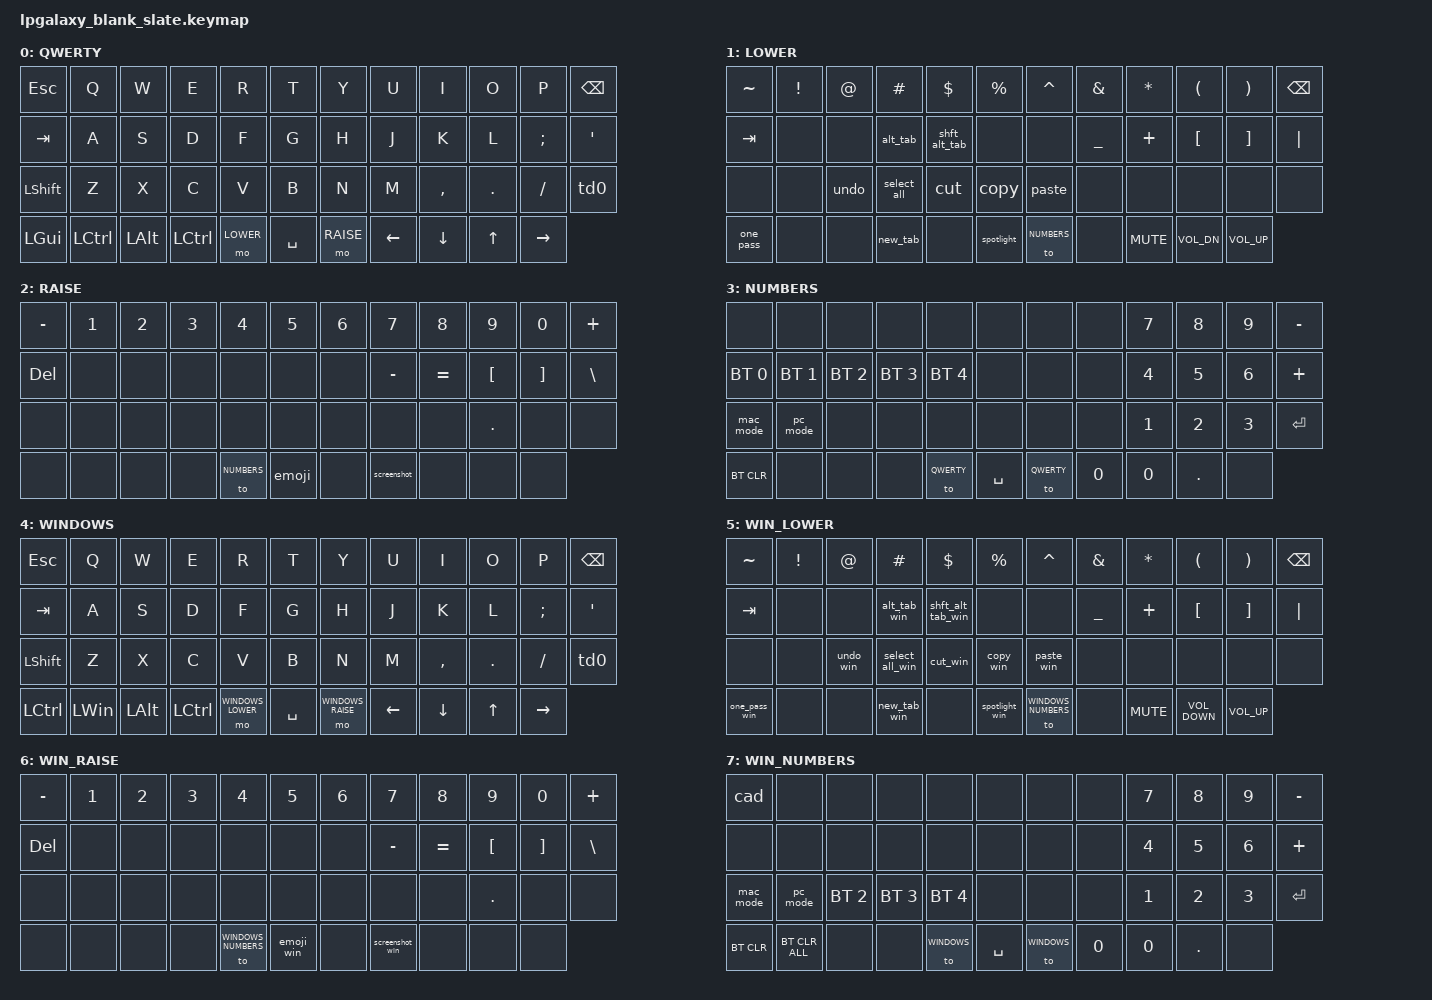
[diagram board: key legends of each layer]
/*
 * Copyright (c) 2022 Pete Johanson
 *
 * SPDX-License-Identifier: MIT
 */

#include <behaviors.dtsi>
#include <dt-bindings/zmk/keys.h>
#include <dt-bindings/zmk/bt.h>
#include <dt-bindings/zmk/outputs.h>

#define QWERTY 0
#define LOWER  1
#define RAISE  2
#define NUMBERS 3

#define WINDOWS 4
#define WINDOWS_LOWER 5
#define WINDOWS_RAISE 6
#define WINDOWS_NUMBERS 7

#define TBLE_MIT 1

&lt { quick_tap_ms = <200>; };

/ {
   chosen {
      zmk,matrix_transform = &mit_transform;
   };

    macros {
       // macOS macros
       mac_mode: mac_mode {
           compatible = "zmk,behavior-macro";
           #binding-cells = <0>;
           bindings
               = <&to QWERTY>
               , <&bt BT_SEL 0>
               ;
       };
       pc_mode: pc_mode {
           compatible = "zmk,behavior-macro";
           #binding-cells = <0>;
           bindings
               = <&to WINDOWS>
               , <&bt BT_SEL 1>
               ;
       };
       new_tab: new_tab {
           compatible = "zmk,behavior-macro";
           #binding-cells = <0>;
           bindings
               = <&macro_press &kp LGUI &kp T>
               , <&macro_release &kp LGUI &kp T>
               ;
       };
        one_pass: one_pass {
           compatible = "zmk,behavior-macro";
           #binding-cells = <0>;
           bindings
               = <&macro_press &kp LGUI &kp BSLH>
               , <&macro_release &kp LGUI &kp BSLH>
               ;
       };
       emoji: emoji {
           compatible = "zmk,behavior-macro";
           #binding-cells = <0>;
           bindings
               = <&macro_press &kp LGUI &kp LCTRL &kp SPC>
               , <&macro_release &kp LGUI &kp LCTRL &kp SPC>
               ;
       };
       copy: copy {
           compatible = "zmk,behavior-macro";
           #binding-cells = <0>;
           bindings
               = <&macro_press &kp LGUI &kp C>
               , <&macro_release &kp LGUI &kp C>
               ;
       };
       paste: paste {
           compatible = "zmk,behavior-macro";
           #binding-cells = <0>;
           bindings
               = <&macro_press &kp LGUI &kp V>
               , <&macro_release &kp LGUI &kp V>
               ;
       };
       select_all: select_all {
           compatible = "zmk,behavior-macro";
           #binding-cells = <0>;
           bindings
               = <&macro_press &kp LGUI &kp A>
               , <&macro_release &kp LGUI &kp A>
               ;
       };
    cut: cut {
           compatible = "zmk,behavior-macro";
           #binding-cells = <0>;
           bindings
               = <&macro_press &kp LGUI &kp X>
               , <&macro_release &kp LGUI &kp X>
               ;
       };
       undo: undo {
           compatible = "zmk,behavior-macro";
           #binding-cells = <0>;
           bindings
               = <&macro_press &kp LGUI &kp Z>
               , <&macro_release &kp LGUI &kp Z>
               ;
       };
       alt_tab: alt_tab {
           compatible = "zmk,behavior-macro";
           #binding-cells = <0>;
           label = "ALT_TAB";
           bindings
               = <&macro_press &kp LGUI &kp TAB>
               , <&macro_tap &kp TAB>
               , <&macro_release &kp LGUI &kp TAB>
               ;
       };
       shft_alt_tab: shft_alt_tab {
           compatible = "zmk,behavior-macro";
           #binding-cells = <0>;
           label = "SHFT_ALT_TAB";
           bindings
               = <&macro_press &kp LGUI &kp LSHFT &kp TAB>
               , <&macro_tap &kp TAB>
               , <&macro_release &kp LGUI &kp LSHFT &kp TAB>
               ;
       };
       screenshot: screenshot {
           compatible = "zmk,behavior-macro";
           #binding-cells = <0>;
           bindings
               = <&macro_press &kp LGUI &kp LSHFT &kp N4>
               , <&macro_release &kp LGUI &kp LSHFT &kp N4>
               ;
       };
        find: find {
           compatible = "zmk,behavior-macro";
           #binding-cells = <0>;
           bindings
               = <&macro_press &kp LGUI &kp F>
               , <&macro_release &kp LGUI &kp F>
               ;
       };
       spotlight: spotlight {
           compatible = "zmk,behavior-macro";
           #binding-cells = <0>;
           bindings
               = <&macro_press &kp LGUI &kp SPC>
               , <&macro_release &kp LGUI &kp SPC>
               ;
       };

       // Windows macros
       cad: cad {
           compatible = "zmk,behavior-macro";
           #binding-cells = <0>;
           bindings
               = <&macro_press &kp LCTRL &kp LALT>
               , <&kp DEL>
               , <&macro_release &kp LCTRL &kp LALT &kp DEL>
               , <&to WINDOWS>
               ;
       };
           new_tab_win: new_tab_win {
           compatible = "zmk,behavior-macro";
           #binding-cells = <0>;
           bindings
               = <&macro_press &kp LCTRL &kp T>
               , <&macro_release &kp LCTRL &kp T>
               ;
       };
       copy_win: copy_win {
           compatible = "zmk,behavior-macro";
           #binding-cells = <0>;
           bindings
               = <&macro_press &kp LCTRL &kp C>
               , <&macro_release &kp LCTRL &kp C>
               ;
       };
       paste_win: paste_win {
           compatible = "zmk,behavior-macro";
           #binding-cells = <0>;
           bindings
               = <&macro_press &kp LCTRL &kp V>
               , <&macro_release &kp LCTRL &kp V>
               ;
       };
       select_all_win: select_all_win {
           compatible = "zmk,behavior-macro";
           #binding-cells = <0>;
           bindings
               = <&macro_press &kp LCTRL &kp A>
               , <&macro_release &kp LCTRL &kp A>
               ;
       };
      cut_win: cut_win {
           compatible = "zmk,behavior-macro";
           #binding-cells = <0>;
           bindings
               = <&macro_press &kp LCTRL &kp X>
               , <&macro_release &kp LCTRL &kp X>
               ;
       };
       undo_win: undo_win {
           compatible = "zmk,behavior-macro";
           #binding-cells = <0>;
           bindings
               = <&macro_press &kp LCTRL &kp Z>
               , <&macro_release &kp LCTRL &kp Z>
               ;
       };
       one_pass_win: one_pass_win {
           compatible = "zmk,behavior-macro";
           #binding-cells = <0>;
           bindings
               = <&macro_press &kp LCTRL &kp BSLH>
               , <&macro_release &kp LCTRL &kp BSLH>
               ;
       };
       emoji_win: emoji_win {
           compatible = "zmk,behavior-macro";
           #binding-cells = <0>;
           bindings
               = <&macro_press &kp LWIN &kp PERIOD>
               , <&macro_release &kp LWIN &kp PERIOD>
               ;
       };
      alt_tab_win: alt_tab_win {
           compatible = "zmk,behavior-macro";
           #binding-cells = <0>;
           label = "ALT_TAB_WIN";
           bindings
               = <&macro_press &kp LALT>
               , <&macro_tap &kp TAB>
               , <&macro_release &kp LCTRL &kp TAB>
               ;
       };
       shft_alt_tab_win: shft_alt_tab_win {
           compatible = "zmk,behavior-macro";
           #binding-cells = <0>;
           label = "SHFT_ALT_TAB_WIN";
           bindings
               = <&macro_press &kp LALT &kp LSHFT>
               , <&macro_tap &kp TAB>
               , <&macro_release &kp LALT &kp LSHFT>
               ;
       };
       screenshot_win: screenshot_win {
           compatible = "zmk,behavior-macro";
           #binding-cells = <0>;
           bindings
               = <&macro_press &kp LGUI &kp LSHFT &kp S>
               , <&macro_release &kp LGUI &kp LSHFT &kp S>
               ;
       };
       find_win: find_win {
           compatible = "zmk,behavior-macro";
           #binding-cells = <0>;
           bindings
               = <&macro_press &kp LCTRL &kp F>
               , <&macro_release &kp LCTRL &kp F>
               ;
       };
       spotlight_win: spotlight_win {
           compatible = "zmk,behavior-macro";
           #binding-cells = <0>;
           bindings
               = <&macro_press &kp LWIN &kp S>
               , <&macro_release &kp LWIN &kp S>
               ;
       };
   };
    keymap {
       compatible = "zmk,keymap";

       QWERTY_layer {
           label = "QWERTY";
           bindings = <
/*
 * ┌───┬───┬───┬───┬───┬───┬───┬───┬───┬───┬───┬───┐
 * │ESC│ Q │ W │ E │ R │ T │ Y │ U │ I │ O │ P │BSP│
 * ├───┼───┼───┼───┼───┼───┼───┼───┼───┼───┼───┼───┤
 * │TAB│ A │ S │ D │ F │ G │ H │ J │ K │ L │ ; │ ' │
 * ├───┼───┼───┼───┼───┼───┼───┼───┼───┼───┼───┼───┤
 * │SFT│ Z │ X │ C │ V │ B │ N │ M │ , │ . │ / │SFT│
 * ├───┼───┼───┼───┼───┼───┼───┼───┼───┼───┼───┼───┤
 * │GUI│CTL|ALT│CTL│LWR│  SPC  │RSE│LFT│DWN│UP │RGT│
 * └───┴───┴───┴───┴───┴───┴───┴───┴───┴───┴───┴───┘
 */
&kp ESC    &kp Q     &kp W     &kp E      &kp R    &kp T      &kp Y    &kp U    &kp I     &kp O    &kp P     &kp BSPC
&kp TAB    &kp A     &kp S     &kp D      &kp F    &kp G      &kp H    &kp J    &kp K     &kp L    &kp SEMI  &kp APOS
&kp LSHFT  &kp Z     &kp X     &kp C      &kp V    &kp B      &kp N    &kp M    &kp COMMA &kp DOT  &kp FSLH  &td0
&kp LGUI  &kp LCTRL  &kp LALT  &kp LCTRL  &mo LOWER &kp SPACE  &mo RAISE &kp LEFT &kp DOWN &kp UP   &kp RIGHT
           >;
       };

       LOWER_layer {
           label = "LOWER";
           bindings = <
/*
 * ┌───┬───┬───┬───┬───┬───┬───┬───┬───┬───┬───┬───┐
 * │ ~ │ ! │ @ │ # │ $ │ % │ ^ │ & │ * │ ( │ ) │BSP│
 * ├───┼───┼───┼───┼───┼───┼───┼───┼───┼───┼───┼───┤
 * │TAB│   │   │A_T│S_T│   │   │ _ │ + │ [ │ ] │ | │
 * ├───┼───┼───┼───┼───┼───┼───┼───┼───┼───┼───┼───┤
 * │   │   │UND│SEL│CUT│CPY│PST│   │   │   │   │   │
 * ├───┼───┼───┼───┼───┼───┼───┼───┼───┼───┼───┼───┤
 * │1PS│   │   │N_T│   │ SPOT  │NUM│   │   │   │   │
 * └───┴───┴───┴───┴───┴───┴───┴───┴───┴───┴───┴───┘
 */
&kp TILDE  &kp EXCL  &kp AT    &kp HASH   &kp DLLR &kp PRCNT &kp CARET &kp AMPS &kp STAR  &kp LPAR &kp RPAR  &kp BSPC
&kp TAB    &none     &none     &alt_tab   &shft_alt_tab &none &none    &kp UNDER &kp PLUS &kp LBKT &kp RBKT  &kp PIPE
&none      &none     &undo     &select_all &cut    &copy    &paste    &none     &none     &none    &none     &none
&one_pass  &none     &none     &new_tab  &none    &spotlight &to NUMBERS &none  &kp C_MUTE    &kp C_VOL_DN    &kp C_VOL_UP
           >;
       };

       RAISE_layer {
           label = "RAISE";
           bindings = <
/*
 * ┌───┬───┬───┬───┬───┬───┬───┬───┬───┬───┬───┬───┐
 * │ - │ 1 │ 2 │ 3 │ 4 │ 5 │ 6 │ 7 │ 8 │ 9 │ 0 │ + │
 * ├───┼───┼───┼───┼───┼───┼───┼───┼───┼───┼───┼───┤
 * │DEL│   │   │   │   │   │   │ - │ = │ [ │ ] │ \ │
 * ├───┼───┼───┼───┼───┼───┼───┼───┼───┼───┼───┼───┤
 * │   │   │   │   │   │   │   │   │   │ . │   │   │
 * ├───┼───┼───┼───┼───┼───┼───┼───┼───┼───┼───┼───┤
 * │   │   │   │NUM│EMJ│  SPC  │   │SCR│   │   │   │
 * └───┴───┴───┴───┴───┴───┴───┴───┴───┴───┴───┴───┘
 */
&kp MINUS  &kp N1    &kp N2    &kp N3     &kp N4   &kp N5    &kp N6   &kp N7    &kp N8    &kp N9   &kp N0    &kp PLUS
&kp DEL    &none     &none     &none      &none    &none     &none    &kp MINUS &kp EQL   &kp LBKT &kp RBKT  &kp BSLH
&none      &none     &none     &none      &none    &none     &none    &none     &none     &kp DOT  &none     &none
&none      &none     &none     &none    &to NUMBERS &emoji  &none    &screenshot &none   &none    &none
           >;
       };

       NUMBERS_layer {
           label = "NUMBERS";
           bindings = <
/*
 * ┌───┬───┬───┬───┬───┬───┬───┬───┬───┬───┬───┬───┐
 * │   │   │   │   │   │   │   │   │ 7 │ 8 │ 9 │ - │
 * ├───┼───┼───┼───┼───┼───┼───┼───┼───┼───┼───┼───┤
 * │BT0│BT1│   │   │   │   │   │   │ 4 │ 5 │ 6 │ + │
 * ├───┼───┼───┼───┼───┼───┼───┼───┼───┼───┼───┼───┤
 * │MAC│PC │BT2│BT3│BT4│   │   │   │ 1 │ 2 │ 3 │ENT│
 * ├───┼───┼───┼───┼───┼───┼───┼───┼───┼───┼───┼───┤
 * │CLR│   │   │   │QWE│  SPC  │QWE│ 0 │ 0 │ . │   │
 * └───┴───┴───┴───┴───┴───┴───┴───┴───┴───┴───┴───┘
 */
&none      &none     &none     &none      &none    &none     &none    &none     &kp N7    &kp N8   &kp N9    &kp MINUS
&bt BT_SEL 0      &bt BT_SEL 1     &bt BT_SEL 2     &bt BT_SEL 3      &bt BT_SEL 4    &none     &none    &none     &kp N4    &kp N5   &kp N6    &kp PLUS
&mac_mode  &pc_mode  &none &none &none &none &none &none   &kp N1    &kp N2   &kp N3    &kp ENTER
&bt BT_CLR &none &none &none &to QWERTY &kp SPACE  &to QWERTY &kp N0   &kp N0   &kp DOT    &none
           >;
       };
   
   WINDOWS_layer {
           label = "WINDOWS";
           bindings = <
/*
 * ┌───┬───┬───┬───┬───┬───┬───┬───┬───┬───┬───┬───┐
 * │ESC│ Q │ W │ E │ R │ T │ Y │ U │ I │ O │ P │BSP│
 * ├───┼───┼───┼───┼───┼───┼───┼───┼───┼───┼───┼───┤
 * │TAB│ A │ S │ D │ F │ G │ H │ J │ K │ L │ ; │ ' │
 * ├───┼───┼───┼───┼───┼───┼───┼───┼───┼───┼───┼───┤
 * │SFT│ Z │ X │ C │ V │ B │ N │ M │ , │ . │ / │SFT│
 * ├───┼───┼───┼───┼───┼───┼───┼───┼───┼───┼───┼───┤
 * │CTL│WIN│ALT│CTL│LWR│  SPC  │RSE│LFT│DWN│UP │RGT│
 * └───┴───┴───┴───┴───┴───┴───┴───┴───┴───┴───┴───┘
 */
&kp ESC    &kp Q     &kp W     &kp E      &kp R    &kp T      &kp Y    &kp U    &kp I     &kp O    &kp P     &kp BSPC
&kp TAB    &kp A     &kp S     &kp D      &kp F    &kp G      &kp H    &kp J    &kp K     &kp L    &kp SEMI  &kp APOS
&kp LSHFT  &kp Z     &kp X     &kp C      &kp V    &kp B      &kp N    &kp M    &kp COMMA &kp DOT  &kp FSLH  &td0
&kp LCTRL  &kp LWIN  &kp LALT  &kp LCTRL  &mo WINDOWS_LOWER &kp SPACE &mo WINDOWS_RAISE &kp LEFT &kp DOWN &kp UP &kp RIGHT
           >;
       };

       WINDOWS_LOWER_layer {
           label = "WIN_LOWER";
           bindings = <
/*
 * ┌───┬───┬───┬───┬───┬───┬───┬───┬───┬───┬───┬───┐
 * │ ~ │ ! │ @ │ # │ $ │ % │ ^ │ & │ * │ ( │ ) │BSP│
 * ├───┼───┼───┼───┼───┼───┼───┼───┼───┼───┼───┼───┤
 * │TAB│   │   │A_T│S_T│   │   │ _ │ + │ [ │ ] │ | │
 * ├───┼───┼───┼───┼───┼───┼───┼───┼───┼───┼───┼───┤
 * │   │   │UND│SEL│CUT│CPY│PST│   │   │   │   │   │
 * ├───┼───┼───┼───┼───┼───┼───┼───┼───┼───┼───┼───┤
 * │1PS│   │   │N_T│   │  SPOT │NUM│   │   │   │   │
 * └───┴───┴───┴───┴───┴───┴───┴───┴───┴───┴───┴───┘
 */
&kp TILDE  &kp EXCL  &kp AT    &kp HASH   &kp DLLR &kp PRCNT &kp CARET &kp AMPS  &kp STAR  &kp LPAR &kp RPAR  &kp BSPC
&kp TAB    &none     &none     &alt_tab_win &shft_alt_tab_win &none &none &kp UNDER &kp PLUS &kp LBKT &kp RBKT &kp PIPE
&none      &none     &undo_win &select_all_win &cut_win &copy_win &paste_win &none &none   &none    &none     &none
&one_pass_win &none  &none &new_tab_win &none  &spotlight_win &to WINDOWS_NUMBERS &none &kp C_MUTE &kp C_VOLUME_DOWN &kp C_VOL_UP
           >;
       };

       WINDOWS_RAISE_layer {
           label = "WIN_RAISE";
           bindings = <
/*
 * ┌───┬───┬───┬───┬───┬───┬───┬───┬───┬───┬───┬───┐
 * │ - │ 1 │ 2 │ 3 │ 4 │ 5 │ 6 │ 7 │ 8 │ 9 │ 0 │ + │
 * ├───┼───┼───┼───┼───┼───┼───┼───┼───┼───┼───┼───┤
 * │DEL│   │   │   │   │   │   │ - │ = │ [ │ ] │ \ │
 * ├───┼───┼───┼───┼───┼───┼───┼───┼───┼───┼───┼───┤
 * │   │   │   │   │   │   │   │   │   │ . │   │   │
 * ├───┼───┼───┼───┼───┼───┼───┼───┼───┼───┼───┼───┤
 * │   │   │   │NUM│EMJ│  SPC  │   │SCR│   │   │   │
 * └───┴───┴───┴───┴───┴───┴───┴───┴───┴───┴───┴───┘
 */
&kp MINUS  &kp N1    &kp N2    &kp N3     &kp N4   &kp N5    &kp N6   &kp N7    &kp N8    &kp N9   &kp N0    &kp PLUS
&kp DEL    &none     &none     &none      &none    &none     &none    &kp MINUS &kp EQL   &kp LBKT &kp RBKT  &kp BSLH
&none      &none     &none     &none      &none    &none     &none    &none     &none     &kp DOT  &none     &none
&none      &none     &none     &none &to WINDOWS_NUMBERS &emoji_win  &none   &screenshot_win &none &none  &none
           >;
       };

       WINDOWS_NUMBERS_layer {
           label = "WIN_NUMBERS";
           bindings = <
/*
 * ┌───┬───┬───┬───┬───┬───┬───┬───┬───┬───┬───┬───┐
 * │CAD│   │   │   │   │   │   │   │ 7 │ 8 │ 9 │ - │
 * ├───┼───┼───┼───┼───┼───┼───┼───┼───┼───┼───┼───┤
 * │   │   │   │   │   │   │   │   │ 4 │ 5 │ 6 │ + │
 * ├───┼───┼───┼───┼───┼───┼───┼───┼───┼───┼───┼───┤
 * │MAC│PC │BT2│BT3│BT4│   │   │   │ 1 │ 2 │ 3 │ENT│
 * ├───┼───┼───┼───┼───┼───┼───┼───┼───┼───┼───┼───┤
 * │CLR│CLA│   │   │WIN│  SPC  │WIN│ 0 │ . │   │   │
 * └───┴───┴───┴───┴───┴───┴───┴───┴───┴───┴───┴───┘
 */
&cad       &none     &none     &none      &none    &none     &none    &none     &kp N7    &kp N8   &kp N9    &kp MINUS
&none      &none     &none     &none      &none    &none     &none    &none     &kp N4    &kp N5   &kp N6    &kp PLUS
&mac_mode  &pc_mode  &bt BT_SEL 2 &bt BT_SEL 3 &bt BT_SEL 4 &none &none &none   &kp N1    &kp N2   &kp N3    &kp ENTER
&bt BT_CLR &bt BT_CLR_ALL &none &none &to WINDOWS &kp SPACE &to WINDOWS &kp N0  &kp N0   &kp DOT    &none
           >;
       };
   };
   behaviors {
       td0: tap_dance_0 {
           compatible = "zmk,behavior-tap-dance";
           #binding-cells = <0>;
           tapping-term-ms = <200>;
           bindings = <&kp RSHFT>, <&kp ENTER>;
       };
};
};
